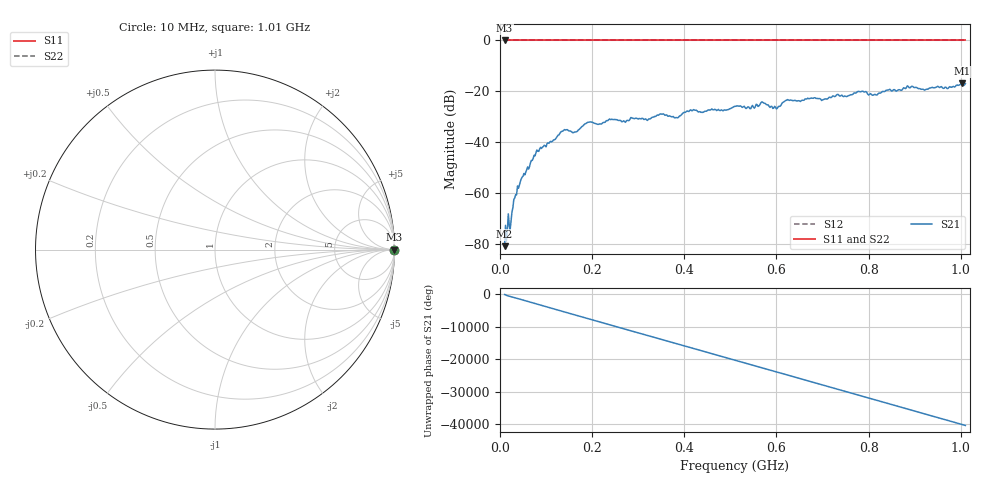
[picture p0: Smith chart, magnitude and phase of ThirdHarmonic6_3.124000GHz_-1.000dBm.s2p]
! 8/17/2025 9:16:53 AM
! C:\ANRITSUVNA\TEMP\TEMP.S2P
! CHANNEL.1
! TR.MEASUREMENT
! RAW.DATA
! RF.CORRECTION.OFF
! AVERAGING.OFF
! IF.BANDWIDTH: 5KHZ
! SWEEPTYPE:  FREQ.SWEEP(Linear)
! Reference Plane Port Info
! PORT:  PORT1  PORT2
! DISTANCE:  0  m  0  m
! TIME:  0  s  0  s
! PHASE.OFFSET:  0  deg.  0  deg.
! LOSS:  0  dB  0  dB
! REF.LOSS:  0  dB  0  dB
! REF.FREQ:  0  Hz  0  Hz
! Power Info
! POWER:  -20  dBm  -20  dBm
! EFF.POWER:  -20  dBm  -20  dBm
! SOURCE.ATTEN:  0  dB  0  dB
! TEST.ATTEN:  0  dB  0  dB
# GHZ S RI R 50.0
! FREQ.GHZ  S11RE  S11IM  S21RE  S21IM  S12RE  S12IM  S22RE  S22IM
!; PortSelection: Port_12
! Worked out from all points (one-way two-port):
!   501 points, 10 MHz to 1.01 GHz, reference 50 ohm
!   highest |S21| = -16.92 dB at 1.002 GHz (marker M1); lowest = -80.9 dB at 10 MHz (marker M2)
!   lowest |S11| = 0.0 dB at 10 MHz (marker M3)
!   |S11| at or under -10 dB: nowhere
!   |S22| runs from 0.0 to 0.0 dB; largest |S21 - S12| = 1.1
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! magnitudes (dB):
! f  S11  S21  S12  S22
! 10 MHz  0.0  -80.9  0.0  0.0
! 16 MHz  0.0  -74.6  0.0  0.0
! 24 MHz  0.0  -70.8  0.0  0.0
! 34 MHz  0.0  -60.7  0.0  0.0
! 42 MHz  0.0  -57.0  0.0  0.0
! 78 MHz  0.0  -44.3  0.0  0.0
! 136 MHz  0.0  -35.7  0.0  0.0
! 162 MHz  0.0  -36.0  0.0  0.0
! 178 MHz  0.0  -33.8  0.0  0.0
! 344 MHz  0.0  -29.4  0.0  0.0
! 382 MHz  0.0  -30.3  0.0  0.0
! 416 MHz  0.0  -27.7  0.0  0.0
! 510 MHz  0.0  -25.9  0.0  0.0
! 570 MHz  0.0  -24.3  0.0  0.0
! 598 MHz  0.0  -26.3  0.0  0.0
! 622 MHz  0.0  -23.5  0.0  0.0
! 678 MHz  0.0  -22.7  0.0  0.0
! 782 MHz  0.0  -20.2  0.0  0.0
! 814 MHz  0.0  -21.2  0.0  0.0
! 844 MHz  0.0  -19.4  0.0  0.0
! 1.002 GHz  0.0  -16.9  0.0  0.0
! 1.01 GHz  0.0  -17.0  0.0  0.0
